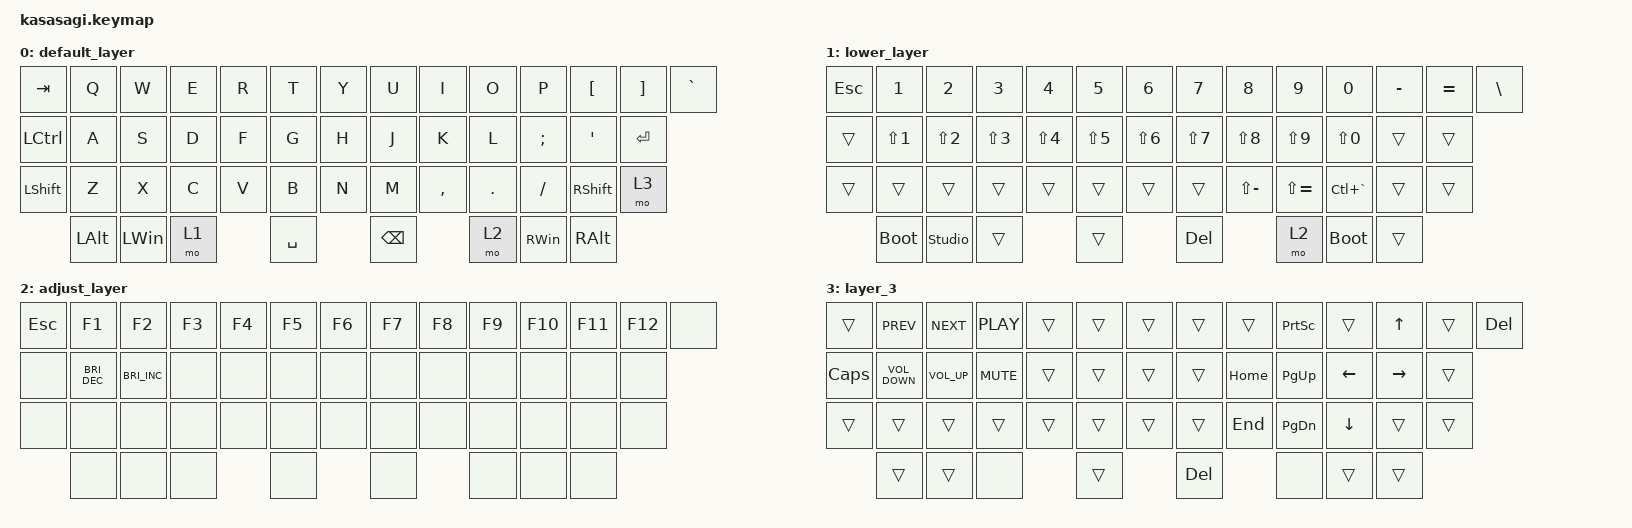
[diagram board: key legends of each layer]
// Copyright (c) 2025 The ZMK Contributors
// SPDX-License-Identifier: MIT

#include <behaviors.dtsi>
#include <dt-bindings/zmk/keys.h>

//╭────────┬───────┬───────┬───────┬───────┬───────┬───────┬───────┬───────┬───────┬───────┬───────┬───────┬───────╮
//│  TAB   │  Q    │  W    │  E    │  R    │  T    │  Y    │  U    │  I    │  O    │  P    │  [    │  ]    │ BKSPC │
//├────────┴──┬────┴──┬────┴──┬────┴──┬────┴──┬────┴──┬────┴──┬────┴──┬────┴──┬────┴──┬────┴──┬────┴──┬────┴───────┤
//│  CTRL     │  A    │  S    │  D    │  F    │  G    │  H    │  J    │  K    │  L    │ ; :   │ ' "   │  ENTER     │
//├───────────┴──┬────┴──┬────┴──┬────┴──┬────┴──┬────┴──┬────┴──┬────┴──┬────┴──┬────┴──┬────┴──┬────┴────┬───────┤
//│  SHIFT       │  Z    │  X    │  C    │  V    │  B    │  N    │  M    │ , <   │ . >   │ / ?   │ SHIFT   │ CTRL  │
//╰───────────┬──┴────┬──┴─────┬─┴─────┬─┴───────┴─────┬─┴───────┴───────┴───┬───┴───┬───┴────┬──┴────┬────┴───────╯
//            │       │        │       │               │                     │       │        │       │
//            ╰───────┴────────┴───────┴───────────────┴─────────────────────┴───────┴────────┴───────╯

/ {
    keymap {
        compatible = "zmk,keymap";

        default_layer {
            bindings = <
&kp TAB     &kp Q         &kp W         &kp E  &kp R  &kp T      &kp Y  &kp U     &kp I      &kp O    &kp P          &kp LBKT       &kp RBKT   &kp GRAVE
&kp LCTRL   &kp A         &kp S         &kp D  &kp F  &kp G      &kp H  &kp J     &kp K      &kp L    &kp SEMI       &kp SQT        &kp ENTER
&kp LSHIFT  &kp Z         &kp X         &kp C  &kp V  &kp B      &kp N  &kp M     &kp COMMA  &kp DOT  &kp FSLH       &kp RSHIFT     &mo 3
            &kp LEFT_ALT  &kp LEFT_WIN  &mo 1         &kp SPACE         &kp BSPC             &mo 2    &kp RIGHT_WIN  &kp RIGHT_ALT
            >;
        };

        lower_layer {
            bindings = <
&kp ESCAPE  &kp N1            &kp N2            &kp N3            &kp N4            &kp N5      &kp N6            &kp N7      &kp N8         &kp N9         &kp N0         &kp MINUS  &kp EQUAL  &kp BACKSLASH
&trans      &kp LS(NUMBER_1)  &kp LS(NUMBER_2)  &kp LS(NUMBER_3)  &kp LS(NUMBER_4)  &kp LS(N5)  &kp LS(NUMBER_6)  &kp LS(N7)  &kp LS(N8)     &kp LS(N9)     &kp LS(N0)     &trans     &trans
&trans      &trans            &trans            &trans            &trans            &trans      &trans            &trans      &kp LS(MINUS)  &kp LS(EQUAL)  &kp LC(GRAVE)  &trans     &trans
            &bootloader       &studio_unlock    &trans                              &trans                        &kp DELETE                 &mo 2          &bootloader    &trans
            >;
        };

        adjust_layer {
            bindings = <
&kp ESC  &kp F1                &kp F2                &kp F3  &kp F4  &kp F5  &kp F6  &kp F7  &kp F8  &kp F9  &kp F10  &kp F11  &kp F12  &none
&none    &kp C_BRIGHTNESS_DEC  &kp C_BRIGHTNESS_INC  &none   &none   &none   &none   &none   &none   &none   &none    &none    &none
&none    &none                 &none                 &none   &none   &none   &none   &none   &none   &none   &none    &none    &none
         &none                 &none                 &none           &none           &none           &none   &none    &none
            >;
        };

        layer_3 {
            bindings = <
&trans    &kp C_PREV         &kp C_NEXT       &kp C_PLAY  &trans  &trans  &trans  &trans      &trans    &kp PRINTSCREEN  &trans    &kp UP     &trans  &kp DELETE
&kp CAPS  &kp C_VOLUME_DOWN  &kp C_VOLUME_UP  &kp C_MUTE  &trans  &trans  &trans  &trans      &kp HOME  &kp PAGE_UP      &kp LEFT  &kp RIGHT  &trans
&trans    &trans             &trans           &trans      &trans  &trans  &trans  &trans      &kp END   &kp PAGE_DOWN    &kp DOWN  &trans     &trans
          &trans             &trans           &none               &trans          &kp DELETE            &none            &trans    &trans
            >;
        };
    };
};
